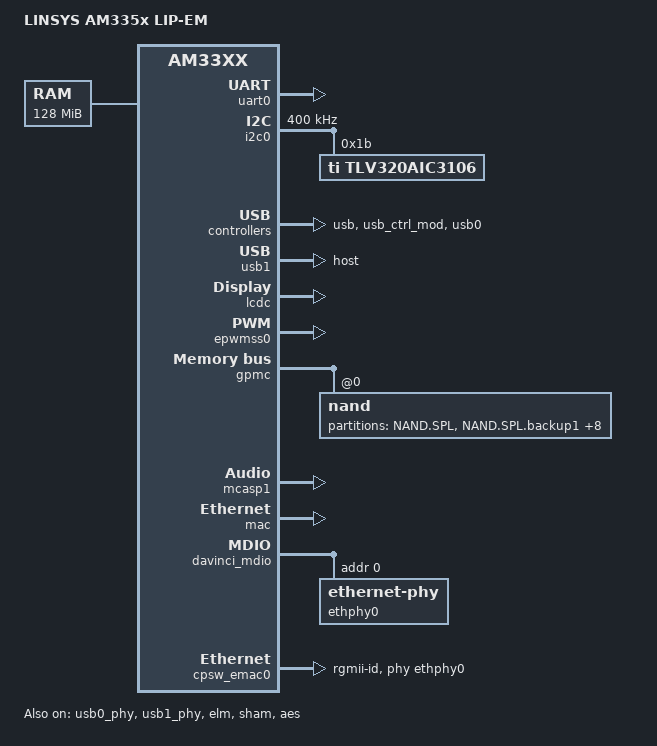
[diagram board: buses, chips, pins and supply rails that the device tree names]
/*
 * Copyright (C) 2012 Texas Instruments Incorporated - http://www.ti.com/
 *
 * This program is free software; you can redistribute it and/or modify
 * it under the terms of the GNU General Public License version 2 as
 * published by the Free Software Foundation.
 */
/dts-v1/;

#include "am33xx.dtsi"
#include <dt-bindings/interrupt-controller/irq.h>

/ {
	model = "LINSYS AM335x LIP-EM";
	compatible = "linsys,am335x-lipem", "ti,am33xx";

	chosen {
		stdout-path = &uart0;
		tick-timer = &timer2;
	};

	cpus {
		cpu@0 {
//			cpu0-supply = <&vdd1_reg>;
		};
	};

	memory {
		device_type = "memory";
		reg = <0x80000000 0x8000000>; /* 128 MB */
	};

	sound {
		compatible = "ti,da830-evm-audio";
		ti,model = "AM335x-EVM";
		ti,audio-codec = <&tlv320aic3106>;
		ti,mcasp-controller = <&mcasp1>;
		ti,codec-clock-rate = <12000000>;
		ti,audio-routing =
			"Headphone Jack",       "HPLOUT",
			"Headphone Jack",       "HPROUT",
			"LINE1L",               "Line In",
			"LINE1R",               "Line In";
	};
};

&am33xx_pinmux {
	pinctrl-names = "default";

    i2c0_pins: pinmux_i2c0_pins {
		pinctrl-single,pins = <
			0x188 (PIN_INPUT_PULLUP | MUX_MODE0)	/* i2c0_sda.i2c0_sda */
			0x18c (PIN_INPUT_PULLUP | MUX_MODE0)	/* i2c0_scl.i2c0_scl */
		>;
	};

	uart0_pins: pinmux_uart0_pins {
		pinctrl-single,pins = <
			0x170 (PIN_INPUT_PULLUP | MUX_MODE0)	/* uart0_rxd.uart0_rxd */
			0x174 (PIN_OUTPUT_PULLDOWN | MUX_MODE0)	/* uart0_txd.uart0_txd */
		>;
	};

	nandflash_pins_s0: nandflash_pins_s0 {
		pinctrl-single,pins = <
			0x0 (PIN_INPUT_PULLUP | MUX_MODE0)	/* gpmc_ad0.gpmc_ad0 */
			0x4 (PIN_INPUT_PULLUP | MUX_MODE0)	/* gpmc_ad1.gpmc_ad1 */
			0x8 (PIN_INPUT_PULLUP | MUX_MODE0)	/* gpmc_ad2.gpmc_ad2 */
			0xc (PIN_INPUT_PULLUP | MUX_MODE0)	/* gpmc_ad3.gpmc_ad3 */
			0x10 (PIN_INPUT_PULLUP | MUX_MODE0)	/* gpmc_ad4.gpmc_ad4 */
			0x14 (PIN_INPUT_PULLUP | MUX_MODE0)	/* gpmc_ad5.gpmc_ad5 */
			0x18 (PIN_INPUT_PULLUP | MUX_MODE0)	/* gpmc_ad6.gpmc_ad6 */
			0x1c (PIN_INPUT_PULLUP | MUX_MODE0)	/* gpmc_ad7.gpmc_ad7 */
			0x70 (PIN_INPUT_PULLUP | MUX_MODE0)	/* gpmc_wait0.gpmc_wait0 */
			0x74 (PIN_INPUT_PULLUP | MUX_MODE7)	/* gpmc_wpn.gpio0_30 */
			0x7c (PIN_OUTPUT | MUX_MODE0)		/* gpmc_csn0.gpmc_csn0  */
			0x90 (PIN_OUTPUT | MUX_MODE0)		/* gpmc_advn_ale.gpmc_advn_ale */
			0x94 (PIN_OUTPUT | MUX_MODE0)		/* gpmc_oen_ren.gpmc_oen_ren */
			0x98 (PIN_OUTPUT | MUX_MODE0)		/* gpmc_wen.gpmc_wen */
			0x9c (PIN_OUTPUT | MUX_MODE0)		/* gpmc_be0n_cle.gpmc_be0n_cle */
		>;
	};

	cpsw_default: cpsw_default {
		pinctrl-single,pins = <
			/* Slave 1 */
			0x114 (PIN_OUTPUT_PULLDOWN | MUX_MODE2)	/* mii1_txen.rgmii1_tctl */
			0x118 (PIN_INPUT_PULLDOWN | MUX_MODE2)	/* mii1_rxdv.rgmii1_rctl */
			0x11c (PIN_OUTPUT_PULLDOWN | MUX_MODE2)	/* mii1_txd3.rgmii1_td3 */
			0x120 (PIN_OUTPUT_PULLDOWN | MUX_MODE2)	/* mii1_txd2.rgmii1_td2 */
			0x124 (PIN_OUTPUT_PULLDOWN | MUX_MODE2)	/* mii1_txd1.rgmii1_td1 */
			0x128 (PIN_OUTPUT_PULLDOWN | MUX_MODE2)	/* mii1_txd0.rgmii1_td0 */
			0x12c (PIN_OUTPUT_PULLDOWN | MUX_MODE2)	/* mii1_txclk.rgmii1_tclk */
			0x130 (PIN_INPUT_PULLDOWN | MUX_MODE2)	/* mii1_rxclk.rgmii1_rclk */
			0x134 (PIN_INPUT_PULLDOWN | MUX_MODE2)	/* mii1_rxd3.rgmii1_rd3 */
			0x138 (PIN_INPUT_PULLDOWN | MUX_MODE2)	/* mii1_rxd2.rgmii1_rd2 */
			0x13c (PIN_INPUT_PULLDOWN | MUX_MODE2)	/* mii1_rxd1.rgmii1_rd1 */
			0x140 (PIN_INPUT_PULLDOWN | MUX_MODE2)	/* mii1_rxd0.rgmii1_rd0 */
		>;
	};

	cpsw_sleep: cpsw_sleep {
		pinctrl-single,pins = <
			/* Slave 1 reset value */
			0x114 (PIN_INPUT_PULLDOWN | MUX_MODE7)
			0x118 (PIN_INPUT_PULLDOWN | MUX_MODE7)
			0x11c (PIN_INPUT_PULLDOWN | MUX_MODE7)
			0x120 (PIN_INPUT_PULLDOWN | MUX_MODE7)
			0x124 (PIN_INPUT_PULLDOWN | MUX_MODE7)
			0x128 (PIN_INPUT_PULLDOWN | MUX_MODE7)
			0x12c (PIN_INPUT_PULLDOWN | MUX_MODE7)
			0x130 (PIN_INPUT_PULLDOWN | MUX_MODE7)
			0x134 (PIN_INPUT_PULLDOWN | MUX_MODE7)
			0x138 (PIN_INPUT_PULLDOWN | MUX_MODE7)
			0x13c (PIN_INPUT_PULLDOWN | MUX_MODE7)
			0x140 (PIN_INPUT_PULLDOWN | MUX_MODE7)
		>;
	};

	davinci_mdio_default: davinci_mdio_default {
		pinctrl-single,pins = <
			/* MDIO */
			0x148 (PIN_INPUT_PULLUP | SLEWCTRL_FAST | MUX_MODE0)	/* mdio_data.mdio_data */
			0x14c (PIN_OUTPUT_PULLUP | MUX_MODE0)			/* mdio_clk.mdio_clk */
		>;
	};

	davinci_mdio_sleep: davinci_mdio_sleep {
		pinctrl-single,pins = <
			/* MDIO reset value */
			0x148 (PIN_INPUT_PULLDOWN | MUX_MODE7)
			0x14c (PIN_INPUT_PULLDOWN | MUX_MODE7)
		>;
	};

	am335x_evm_audio_pins: am335x_evm_audio_pins {
		pinctrl-single,pins = <
			0x10c (PIN_INPUT_PULLDOWN | MUX_MODE4) /* mii1_crs.mcasp1_aclkx */
			0x110 (PIN_INPUT_PULLDOWN | MUX_MODE4) /* mii1_rxerr.mcasp1_fsx */
			0x108 (PIN_OUTPUT_PULLDOWN | MUX_MODE4) /* mii1_col.mcasp1_axr2 */
			0x144 (PIN_INPUT_PULLDOWN | MUX_MODE4) /* rmii1_ref_clk.mcasp1_axr3 */
		>;
	};
};

&uart0 {
	pinctrl-names = "default";
	pinctrl-0 = <&uart0_pins>;

	status = "okay";
};

&i2c0 {
	pinctrl-names = "default";
	pinctrl-0 = <&i2c0_pins>;

	status = "okay";
	clock-frequency = <400000>;

    tlv320aic3106: tlv320aic3106@1b {
        compatible = "ti,tlv320aic3106";
        reg = <0x1b>;
        status = "okay";

        /* Regulators */
    };
};

&usb {
	status = "okay";
};

&usb_ctrl_mod {
	status = "okay";
};

&usb0_phy {
	status = "okay";
};

&usb1_phy {
	status = "okay";
};

&usb0 {
	status = "okay";
};

&usb1 {
	status = "okay";
	dr_mode = "host";
};

&cppi41dma  {
	status = "okay";
};

&lcdc {
	status = "okay";
};

&elm {
	status = "okay";
};

&epwmss0 {
	status = "okay";

//	ecap0: ecap@48300100 {
//		status = "okay";
//		pinctrl-names = "default";
//		pinctrl-0 = <&ecap0_pins>;
//	};
};

&gpmc {
	status = "okay";
	pinctrl-names = "default";
	pinctrl-0 = <&nandflash_pins_s0>;
	ranges = <0 0 0x08000000 0x1000000>;	/* CS0: 16MB for NAND */
	nand@0,0 {
		reg = <0 0 4>; /* CS0, offset 0, IO size 4 */
		ti,nand-ecc-opt = "bch8";
		ti,elm-id = <&elm>;
		nand-bus-width = <8>;
		gpmc,device-width = <1>;
		gpmc,sync-clk-ps = <0>;
		gpmc,cs-on-ns = <0>;
		gpmc,cs-rd-off-ns = <44>;
		gpmc,cs-wr-off-ns = <44>;
		gpmc,adv-on-ns = <6>;
		gpmc,adv-rd-off-ns = <34>;
		gpmc,adv-wr-off-ns = <44>;
		gpmc,we-on-ns = <0>;
		gpmc,we-off-ns = <40>;
		gpmc,oe-on-ns = <0>;
		gpmc,oe-off-ns = <54>;
		gpmc,access-ns = <64>;
		gpmc,rd-cycle-ns = <82>;
		gpmc,wr-cycle-ns = <82>;
		gpmc,wait-on-read = "true";
		gpmc,wait-on-write = "true";
		gpmc,bus-turnaround-ns = <0>;
		gpmc,cycle2cycle-delay-ns = <0>;
		gpmc,clk-activation-ns = <0>;
		gpmc,wait-monitoring-ns = <0>;
		gpmc,wr-access-ns = <40>;
		gpmc,wr-data-mux-bus-ns = <0>;
		/* MTD partition table */
		/* All SPL-* partitions are sized to minimal length
		 * which can be independently programmable. For
		 * NAND flash this is equal to size of erase-block */
		#address-cells = <1>;
		#size-cells = <1>;
		partition@0 {
			label = "NAND.SPL";
			reg = <0x00000000 0x000020000>;
		};
		partition@1 {
			label = "NAND.SPL.backup1";
			reg = <0x00020000 0x00020000>;
		};
		partition@2 {
			label = "NAND.SPL.backup2";
			reg = <0x00040000 0x00020000>;
		};
		partition@3 {
			label = "NAND.SPL.backup3";
			reg = <0x00060000 0x00020000>;
		};
		partition@4 {
			label = "NAND.u-boot-spl-os";
			reg = <0x00080000 0x00040000>;
		};
		partition@5 {
			label = "NAND.u-boot";
			reg = <0x000C0000 0x00100000>;
		};
		partition@6 {
			label = "NAND.u-boot-env";
			reg = <0x001C0000 0x00020000>;
		};
		partition@7 {
			label = "NAND.u-boot-env.backup1";
			reg = <0x001E0000 0x00020000>;
		};
		partition@8 {
			label = "NAND.kernel";
			reg = <0x00200000 0x00800000>;
		};
		partition@9 {
			label = "NAND.file-system";
			reg = <0x00A00000 0x0F600000>;
		};
	};
};

//#include "tps65910.dtsi"

&mcasp1 {
		pinctrl-names = "default";
		pinctrl-0 = <&am335x_evm_audio_pins>;

		status = "okay";

		op-mode = <0>;          /* MCASP_IIS_MODE */
		tdm-slots = <2>;
		/* 4 serializers */
		serial-dir = <  /* 0: INACTIVE, 1: TX, 2: RX */
			0 0 1 2
		>;
		tx-num-evt = <32>;
		rx-num-evt = <32>;
};

&mac {
	pinctrl-names = "default", "sleep";
	pinctrl-0 = <&cpsw_default>;
	pinctrl-1 = <&cpsw_sleep>;
	status = "okay";
	slaves = <1>;
};

&davinci_mdio {
	pinctrl-names = "default", "sleep";
	pinctrl-0 = <&davinci_mdio_default>;
	pinctrl-1 = <&davinci_mdio_sleep>;
	status = "okay";

	ethphy0: ethernet-phy@0 {
		reg = <0>;
	};
};

&cpsw_emac0 {
	phy-handle = <&ethphy0>;
	phy-mode = "rgmii-id";
};

&edma {
	ti,edma-xbar-event-map = /bits/ 16 <1 12
					    2 13>;
};

&sham {
	status = "okay";
};

&aes {
	status = "okay";
};
